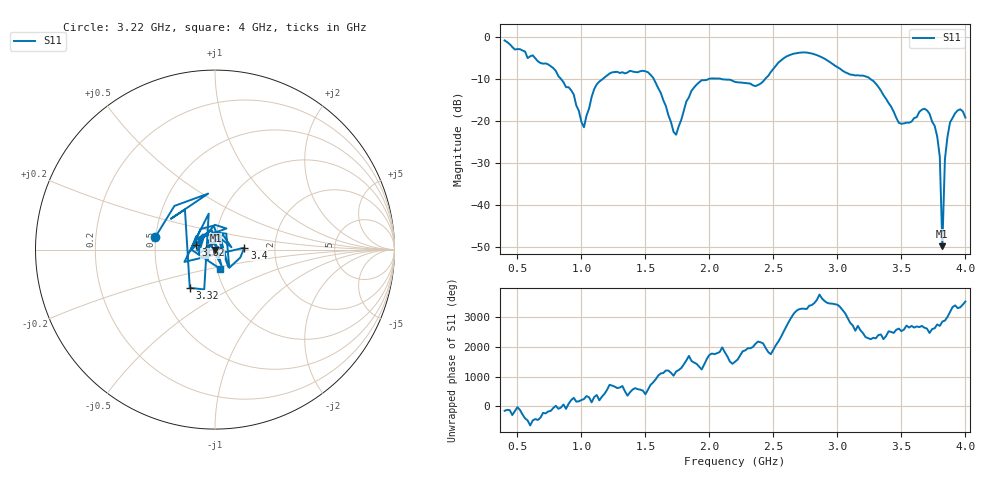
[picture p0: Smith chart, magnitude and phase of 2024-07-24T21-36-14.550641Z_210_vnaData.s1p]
!Created with skrf (http://scikit-rf.org).
# Hz S RI R 50.0
!freq ReS11 ImS11
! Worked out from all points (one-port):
!   181 points, 400 MHz to 4 GHz, reference 50 ohm
!   lowest |S11| = -49.8 dB at 3.82 GHz (marker M1), VSWR 1.01, Z = 50.3 - j0.167 ohm
!   |S11| at or under -10 dB: 1.565 GHz to 1.994 GHz (428.3 MHz wide, 24.1 % of centre); 2.094 GHz to 2.435 GHz (341.5 MHz wide, 15.1 % of centre); 3.258 GHz to end of sweep (the widest 3 of 4)
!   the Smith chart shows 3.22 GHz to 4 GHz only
!   S11 on the Smith chart (normalised r, x): 3.22 GHz: 0.50, +0.08; 3.32 GHz: 0.69, -0.32; 3.4 GHz: 1.39, +0.03; 3.62 GHz: 0.80, +0.04; 4 GHz: 1.03, -0.22
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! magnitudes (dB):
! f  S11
! 400 MHz  -0.8
! 860 MHz  -10.8
! 940 MHz  -13.7
! 1.02 GHz  -21.5
! 1.12 GHz  -11.3
! 1.3 GHz  -8.6
! 1.52 GHz  -8.4
! 1.72 GHz  -22.6
! 1.76 GHz  -21.3
! 1.86 GHz  -12.8
! 1.94 GHz  -10.3
! 2.2 GHz  -10.7
! 2.38 GHz  -11.4
! 2.66 GHz  -3.9
! 3.1 GHz  -8.9
! 3.22 GHz  -9.4
! 3.32 GHz  -11.9
! 3.4 GHz  -15.7
! 3.48 GHz  -20.4
! 3.56 GHz  -20.4
! 3.62 GHz  -19.1
! 3.7 GHz  -17.5
! 3.78 GHz  -23.7
! 3.8 GHz  -28.5
! 3.82 GHz  -49.8
! 3.84 GHz  -29.1
! 3.88 GHz  -20.3
! 4 GHz  -19.2
